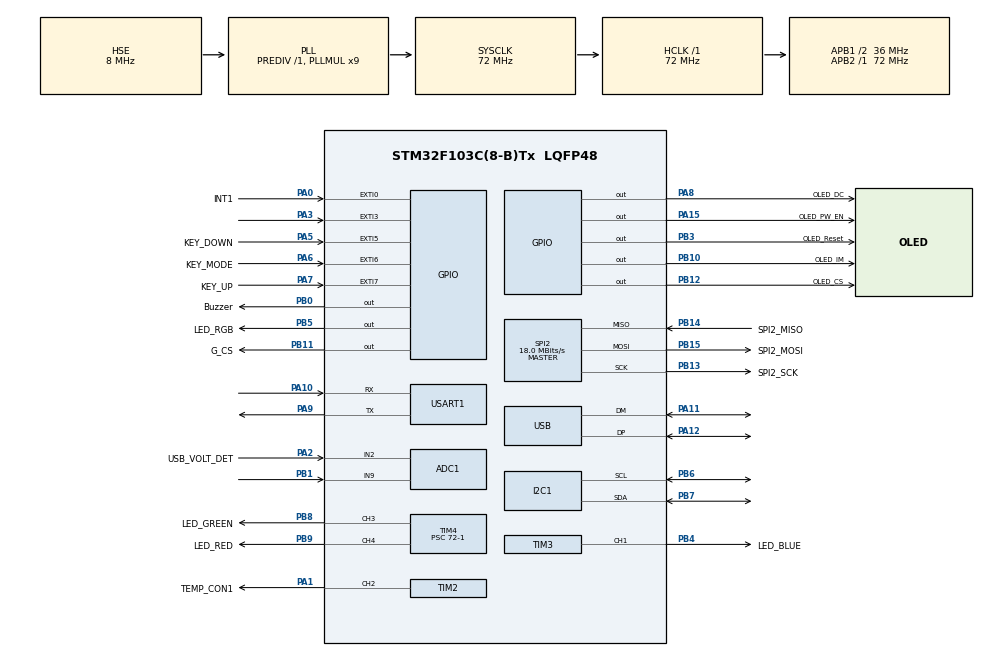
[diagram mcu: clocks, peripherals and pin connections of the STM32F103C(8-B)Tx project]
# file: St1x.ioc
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ADC1.Channel-0\#ChannelRegularConversion=ADC_CHANNEL_9
ADC1.Channel-1\#ChannelRegularConversion=ADC_CHANNEL_2
ADC1.Channel-2\#ChannelRegularConversion=ADC_CHANNEL_TEMPSENSOR
ADC1.ContinuousConvMode=DISABLE
ADC1.ExternalTrigConv=ADC_SOFTWARE_START
ADC1.NbrOfConversion=3
ADC1.NbrOfConversionFlag=1
ADC1.Rank-0\#ChannelRegularConversion=1
ADC1.Rank-1\#ChannelRegularConversion=2
ADC1.Rank-2\#ChannelRegularConversion=3
ADC1.SamplingTime-0\#ChannelRegularConversion=ADC_SAMPLETIME_28CYCLES_5
ADC1.SamplingTime-1\#ChannelRegularConversion=ADC_SAMPLETIME_55CYCLES_5
ADC1.SamplingTime-2\#ChannelRegularConversion=ADC_SAMPLETIME_71CYCLES_5
ADC1.master=1
Dma.ADC1.0.Direction=DMA_PERIPH_TO_MEMORY
Dma.ADC1.0.Instance=DMA1_Channel1
Dma.ADC1.0.MemDataAlignment=DMA_MDATAALIGN_HALFWORD
Dma.ADC1.0.MemInc=DMA_MINC_ENABLE
Dma.ADC1.0.Mode=DMA_CIRCULAR
Dma.ADC1.0.PeriphDataAlignment=DMA_PDATAALIGN_HALFWORD
Dma.ADC1.0.PeriphInc=DMA_PINC_DISABLE
Dma.ADC1.0.Priority=DMA_PRIORITY_HIGH
Dma.I2C1_RX.3.Direction=DMA_PERIPH_TO_MEMORY
Dma.I2C1_RX.3.Instance=DMA1_Channel7
Dma.I2C1_RX.3.MemDataAlignment=DMA_MDATAALIGN_BYTE
Dma.I2C1_RX.3.MemInc=DMA_MINC_ENABLE
Dma.I2C1_RX.3.Mode=DMA_CIRCULAR
Dma.I2C1_RX.3.PeriphDataAlignment=DMA_PDATAALIGN_BYTE
Dma.I2C1_RX.3.PeriphInc=DMA_PINC_DISABLE
Dma.I2C1_RX.3.Priority=DMA_PRIORITY_LOW
Dma.Request0=ADC1
Dma.Request1=SPI2_TX
Dma.Request2=SPI2_RX
Dma.Request3=I2C1_RX
Dma.SPI2_RX.2.Direction=DMA_PERIPH_TO_MEMORY
Dma.SPI2_RX.2.Instance=DMA1_Channel4
Dma.SPI2_RX.2.MemDataAlignment=DMA_MDATAALIGN_BYTE
Dma.SPI2_RX.2.MemInc=DMA_MINC_ENABLE
Dma.SPI2_RX.2.Mode=DMA_NORMAL
Dma.SPI2_RX.2.PeriphDataAlignment=DMA_PDATAALIGN_BYTE
Dma.SPI2_RX.2.PeriphInc=DMA_PINC_DISABLE
Dma.SPI2_RX.2.Priority=DMA_PRIORITY_LOW
Dma.SPI2_TX.1.Direction=DMA_MEMORY_TO_PERIPH
Dma.SPI2_TX.1.Instance=DMA1_Channel5
Dma.SPI2_TX.1.MemDataAlignment=DMA_MDATAALIGN_BYTE
Dma.SPI2_TX.1.MemInc=DMA_MINC_ENABLE
Dma.SPI2_TX.1.Mode=DMA_NORMAL
Dma.SPI2_TX.1.PeriphDataAlignment=DMA_PDATAALIGN_BYTE
Dma.SPI2_TX.1.PeriphInc=DMA_PINC_DISABLE
Dma.SPI2_TX.1.Priority=DMA_PRIORITY_LOW
I2C1.I2C_Mode=I2C_Fast
Mcu.Family=STM32F1
Mcu.Name=STM32F103C(8-B)Tx
Mcu.Package=LQFP48
NVIC.ADC1_2_IRQn=true\:0\:0\:false\:false\:true\:true\:true\:true
NVIC.DMA1_Channel1_IRQn=true\:0\:0\:false\:false\:true\:false\:true\:true
NVIC.DMA1_Channel4_IRQn=true\:0\:0\:false\:false\:true\:false\:true\:true
NVIC.DMA1_Channel5_IRQn=true\:0\:0\:false\:false\:true\:false\:true\:true
NVIC.DMA1_Channel7_IRQn=true\:0\:0\:false\:false\:true\:false\:true\:true
NVIC.EXTI0_IRQn=true\:0\:0\:false\:false\:true\:true\:true\:true
NVIC.EXTI9_5_IRQn=true\:5\:0\:true\:false\:true\:true\:true\:true
NVIC.PriorityGroup=NVIC_PRIORITYGROUP_4
NVIC.TIM2_IRQn=true\:0\:0\:false\:false\:true\:true\:true\:true
NVIC.USB_LP_CAN1_RX0_IRQn=true\:0\:0\:false\:false\:true\:false\:true\:true
PA0-WKUP.GPIO_Label=INT1
PA0-WKUP.GPIO_PuPd=GPIO_PULLUP
PA0-WKUP.Signal=GPXTI0
PA1.GPIO_Label=TEMP_CON1
PA1.GPIO_Speed=GPIO_SPEED_FREQ_HIGH
PA1.Signal=S_TIM2_CH2
PA10.Mode=Asynchronous
PA10.Signal=USART1_RX
PA11.Mode=Device
PA11.Signal=USB_DM
PA12.Mode=Device
PA12.Signal=USB_DP
PA13.Mode=Serial_Wire
PA13.Signal=SYS_JTMS-SWDIO
PA14.Mode=Serial_Wire
PA14.Signal=SYS_JTCK-SWCLK
PA15.GPIO_Label=OLED_PW_EN
PA15.PinState=GPIO_PIN_SET
PA15.Signal=GPIO_Output
PA2.GPIO_Label=USB_VOLT_DET
PA2.Signal=ADCx_IN2
PA3.Signal=GPXTI3
PA5.GPIO_Label=KEY_DOWN
PA5.GPIO_ModeDefaultEXTI=GPIO_MODE_IT_FALLING
PA5.GPIO_PuPd=GPIO_PULLUP
PA5.Signal=GPXTI5
PA6.GPIO_Label=KEY_MODE
PA6.GPIO_ModeDefaultEXTI=GPIO_MODE_IT_FALLING
PA6.GPIO_PuPd=GPIO_PULLUP
PA6.Signal=GPXTI6
PA7.GPIO_Label=KEY_UP
PA7.GPIO_ModeDefaultEXTI=GPIO_MODE_IT_FALLING
PA7.GPIO_PuPd=GPIO_PULLUP
PA7.Signal=GPXTI7
PA8.GPIO_Label=OLED_DC
PA8.GPIO_Speed=GPIO_SPEED_FREQ_HIGH
PA8.Signal=GPIO_Output
PA9.Mode=Asynchronous
PA9.Signal=USART1_TX
PB0.GPIO_Label=Buzzer
PB0.GPIO_Speed=GPIO_SPEED_FREQ_HIGH
PB0.Signal=GPIO_Output
PB1.Signal=ADCx_IN9
PB10.GPIO_Label=OLED_IM
PB10.Signal=GPIO_Output
PB11.GPIO_Label=G_CS
PB11.GPIO_PuPd=GPIO_NOPULL
PB11.GPIO_Speed=GPIO_SPEED_FREQ_HIGH
PB11.PinState=GPIO_PIN_SET
PB11.Signal=GPIO_Output
PB12.GPIO_Label=OLED_CS
PB12.GPIO_Speed=GPIO_SPEED_FREQ_HIGH
PB12.PinState=GPIO_PIN_SET
PB12.Signal=GPIO_Output
PB13.GPIO_Label=SPI2_SCK
PB13.Mode=Full_Duplex_Master
PB13.Signal=SPI2_SCK
PB14.GPIO_Label=SPI2_MISO
PB14.Mode=Full_Duplex_Master
PB14.Signal=SPI2_MISO
PB15.GPIO_Label=SPI2_MOSI
PB15.Mode=Full_Duplex_Master
PB15.Signal=SPI2_MOSI
PB3.GPIO_Label=OLED_Reset
PB3.PinState=GPIO_PIN_SET
PB3.Signal=GPIO_Output
PB4.GPIO_Label=LED_BLUE
PB4.GPIO_ModeDefaultPP=GPIO_MODE_AF_OD
PB4.GPIO_Speed=GPIO_SPEED_FREQ_HIGH
PB4.Signal=S_TIM3_CH1
PB5.GPIO_Label=LED_RGB
PB5.Signal=GPIO_Output
PB6.Mode=I2C
PB6.Signal=I2C1_SCL
PB7.Mode=I2C
PB7.Signal=I2C1_SDA
PB8.GPIO_Label=LED_GREEN
PB8.GPIO_ModeDefaultPP=GPIO_MODE_AF_OD
PB8.GPIO_Speed=GPIO_SPEED_FREQ_HIGH
PB8.Signal=S_TIM4_CH3
PB9.GPIO_Label=LED_RED
PB9.GPIO_ModeDefaultPP=GPIO_MODE_AF_OD
PB9.GPIO_Speed=GPIO_SPEED_FREQ_HIGH
PB9.Signal=S_TIM4_CH4
PD0-OSC_IN.Mode=HSE-External-Oscillator
PD0-OSC_IN.Signal=RCC_OSC_IN
PD1-OSC_OUT.Mode=HSE-External-Oscillator
PD1-OSC_OUT.Signal=RCC_OSC_OUT
ProjectManager.HeapSize=0x200
ProjectManager.StackSize=0x400
ProjectManager.TargetToolchain=STM32CubeIDE
RCC.ADCPresc=RCC_ADCPCLK2_DIV6
RCC.AHBFreq_Value=72000000
RCC.APB1CLKDivider=RCC_HCLK_DIV2
RCC.APB1Freq_Value=36000000
RCC.APB1TimFreq_Value=72000000
RCC.APB2Freq_Value=72000000
RCC.APB2TimFreq_Value=72000000
RCC.HCLKFreq_Value=72000000
RCC.PLLMUL=RCC_PLL_MUL9
RCC.PLLSourceVirtual=RCC_PLLSOURCE_HSE
RCC.SYSCLKFreq_VALUE=72000000
RCC.SYSCLKSource=RCC_SYSCLKSOURCE_PLLCLK
RCC.USBFreq_Value=48000000
RCC.USBPrescaler=RCC_USBCLKSOURCE_PLL_DIV1_5
SH.ADCx_IN2.0=ADC1_IN2,IN2
SH.ADCx_IN9.0=ADC1_IN9,IN9
SH.S_TIM2_CH2.0=TIM2_CH2,PWM Generation2 CH2
SH.S_TIM3_CH1.0=TIM3_CH1,PWM Generation1 CH1
SH.S_TIM4_CH3.0=TIM4_CH3,PWM Generation3 CH3
SH.S_TIM4_CH4.0=TIM4_CH4,PWM Generation4 CH4
SPI2.BaudRatePrescaler=SPI_BAUDRATEPRESCALER_2
SPI2.CLKPolarity=SPI_POLARITY_LOW
SPI2.CalculateBaudRate=18.0 MBits/s
SPI2.Direction=SPI_DIRECTION_2LINES
SPI2.Mode=SPI_MODE_MASTER
SPI2.VirtualType=VM_MASTER
TIM2.Channel-PWM\ Generation2\ CH2=TIM_CHANNEL_2
TIM2.Period=10000
TIM2.Prescaler=143
TIM2.TIM_MasterOutputTrigger=TIM_TRGO_RESET
TIM2.TIM_MasterSlaveMode=TIM_MASTERSLAVEMODE_DISABLE
TIM3.Channel-PWM\ Generation1\ CH1=TIM_CHANNEL_1
TIM3.OCMode_PWM-PWM\ Generation1\ CH1=TIM_OCMODE_PWM2
TIM3.OCPolarity_1=TIM_OCPOLARITY_HIGH
TIM3.Period=1500
TIM3.Prescaler=1
TIM3.Pulse-PWM\ Generation1\ CH1=0
TIM3.TIM_MasterOutputTrigger=TIM_TRGO_RESET
TIM3.TIM_MasterSlaveMode=TIM_MASTERSLAVEMODE_DISABLE
TIM4.Channel-PWM\ Generation3\ CH3=TIM_CHANNEL_3
TIM4.Channel-PWM\ Generation4\ CH4=TIM_CHANNEL_4
TIM4.OCMode_PWM-PWM\ Generation3\ CH3=TIM_OCMODE_PWM2
TIM4.OCMode_PWM-PWM\ Generation4\ CH4=TIM_OCMODE_PWM2
TIM4.Period=1000-1
TIM4.Prescaler=72-1
USART1.VirtualMode=VM_ASYNC
USB_DEVICE.CLASS_NAME_FS=DFU
USB_DEVICE.VirtualMode=Dfu
USB_DEVICE.VirtualModeFS=Dfu_FS
VP_ADC1_TempSens_Input.Mode=IN-TempSens
VP_TIM1_VS_ClockSourceINT.Mode=Internal
VP_TIM2_VS_ClockSourceINT.Mode=Internal
VP_TIM3_VS_ClockSourceINT.Mode=Internal
VP_TIM4_VS_ClockSourceINT.Mode=Internal
VP_USB_DEVICE_VS_USB_DEVICE_DFU_FS.Mode=DFU_FS
board=custom

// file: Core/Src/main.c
/* USER CODE BEGIN Header */
/**
  ******************************************************************************
  * @file           : main.c
  * @brief          : Main program body
  ******************************************************************************
  * @attention
  *
  * Copyright (c) 2023 STMicroelectronics.
  * All rights reserved.
  *
  * This software is licensed under terms that can be found in the LICENSE file
  * in the root directory of this software component.
  * If no LICENSE file comes with this software, it is provided AS-IS.
  *
  ******************************************************************************
  */
/* USER CODE END Header */
#include "main.h"
#include "adc.h"
#include "dma.h"
#include "i2c.h"
#include "spi.h"
#include "tim.h"
#include "usart.h"
#include "usb_device.h"
#include "gpio.h"

/* USER CODE BEGIN Includes */
#include <math.h>
#include "u8g2.h"
#include "u8g2_oled.h"
#include "St1xADC.h"
#include "bmp.h"
#include "lis2dw12.h"
#include "St1xPID.h"
#include "ws2812.h"
#include "St1xMenu.h"
#include "St1xKey.h"
#include "St1xStatic.h"
#include "St1xCalibrationSystem.h"
#include "Buzzer.h"
#include "St1xSystemManager.h"

// 声明外部变量
extern uint8_t heating_status;

// 环境温度感知系统相关变量声明
extern uint32_t system_start_time;
extern uint32_t last_heating_time;

// 校准系统所需的外部函数声明
extern float getCalibrationTemperature(void);
extern uint8_t isUSBVoltageSufficient(void);
extern void StopCalibrationHeating(void);
extern void StartCalibrationHeating(void);
/* USER CODE END Includes */

/* USER CODE BEGIN PD */
// 显示更新间隔(ms)
#define DISPLAY_UPDATE_INTERVAL 100
// 静置检查间隔(ms)
#define STANDBY_CHECK_INTERVAL 1000
// 菜单进入延迟(ms)
#define MENU_ENTER_DELAY 200
// 温度显示变化阈值(°C)
#define TEMP_DISPLAY_THRESHOLD 0.5f
/* USER CODE END PD */

/* USER CODE BEGIN PV */
// 定义u8g2全局变量
u8g2_t u8g2;

// 菜单活动状态变量
uint8_t menu_active = 0;

// OLED更新计时
uint32_t last_oled_update = 0;

// 调试显示标志
uint8_t debug_display_enabled = 0;  // 默认关闭调试显示 0关闭 1开启

// 使用系统管理模块中定义的系统模式
extern SystemMode current_system_mode;

// 系统状态标志
uint8_t timer_started = 0;  // 定时器启动标志
uint32_t last_standby_check = 0;  // 上次静置检查时间
float last_displayed_temp = 0;  // 上次显示的温度值
uint32_t menu_enter_delay = 0;  // 菜单进入延迟计时
/* USER CODE END PV */

void SystemClock_Config(void);
/* USER CODE BEGIN PFP */

// 系统初始化函数（保留硬件相关初始化）
void System_Init(void);
void LED_Init(void);
void Display_Init(void);
void ADC_Init(void);
void Timer_Init(void);

/* USER CODE END PFP */

/* USER CODE BEGIN 0 */

//===========================
// 中断回调函数
//===========================

/**
 * @brief TIM2定时器中断回调函数
 */
void HAL_TIM_PeriodElapsedCallback(TIM_HandleTypeDef *htim) {
    if (htim->Instance == TIM2) {
        heatingControlTimerCallback();  // 调用加热控制逻辑
    }
}

/* USER CODE END 0 */

int main(void)
{

  /* MCU Configuration--------------------------------------------------------*/

  /* Reset of all peripherals, Initializes the Flash interface and the Systick. */
  HAL_Init();

  /* Configure the system clock */
  SystemClock_Config();

  /* Initialize all configured peripherals */
  MX_GPIO_Init();
  MX_DMA_Init();
  MX_ADC1_Init();
  MX_SPI2_Init();
  MX_TIM2_Init();
  MX_TIM3_Init();
  MX_USART1_UART_Init();
  MX_TIM4_Init();
  MX_TIM1_Init();
  MX_I2C1_Init();
  MX_USB_DEVICE_Init();
  /* USER CODE BEGIN 2 */
    // 系统初始化
    System_Init();
  /* USER CODE END 2 */

  /* Infinite loop */
  while (1)
  {

    /* USER CODE BEGIN 3 */
    uint32_t current_time = HAL_GetTick();

    // 系统状态监控（始终运行）
    systemStatusMonitor();

    // 定期检查静置状态
    if ((current_time - last_standby_check) >= STANDBY_CHECK_INTERVAL) {
        St1xStatic_DisplayData(NULL); // 检查静置状态
        last_standby_check = current_time;
    }

    // 静置状态下的屏幕和LED控制
    St1xStatic_TimerCallback();

    // 根据当前系统模式处理不同的逻辑
    SystemManager_ModeHandler(current_time);

    // 更新蜂鸣器状态机
//    buzzerBeep_update();

    // 更新启动音状态机
//    buzzerStartupBeep_update();

    // 各模块有独立的定时刷新机制，无需主循环延时
  }
  /* USER CODE END 3 */
}

void SystemClock_Config(void)
{
  RCC_OscInitTypeDef RCC_OscInitStruct = {0};
  RCC_ClkInitTypeDef RCC_ClkInitStruct = {0};
  RCC_PeriphCLKInitTypeDef PeriphClkInit = {0};

  /** Initializes the RCC Oscillators according to the specified parameters
  * in the RCC_OscInitTypeDef structure.
  */
  RCC_OscInitStruct.OscillatorType = RCC_OSCILLATORTYPE_HSE;
  RCC_OscInitStruct.HSEState = RCC_HSE_ON;
  RCC_OscInitStruct.HSEPredivValue = RCC_HSE_PREDIV_DIV1;
  RCC_OscInitStruct.HSIState = RCC_HSI_ON;
  RCC_OscInitStruct.PLL.PLLState = RCC_PLL_ON;
  RCC_OscInitStruct.PLL.PLLSource = RCC_PLLSOURCE_HSE;
  RCC_OscInitStruct.PLL.PLLMUL = RCC_PLL_MUL9;
  if (HAL_RCC_OscConfig(&RCC_OscInitStruct) != HAL_OK)
  {
    Error_Handler();
  }

  /** Initializes the CPU, AHB and APB buses clocks
  */
  RCC_ClkInitStruct.ClockType = RCC_CLOCKTYPE_HCLK|RCC_CLOCKTYPE_SYSCLK
                              |RCC_CLOCKTYPE_PCLK1|RCC_CLOCKTYPE_PCLK2;
  RCC_ClkInitStruct.SYSCLKSource = RCC_SYSCLKSOURCE_PLLCLK;
  RCC_ClkInitStruct.AHBCLKDivider = RCC_SYSCLK_DIV1;
  RCC_ClkInitStruct.APB1CLKDivider = RCC_HCLK_DIV2;
  RCC_ClkInitStruct.APB2CLKDivider = RCC_HCLK_DIV1;

  if (HAL_RCC_ClockConfig(&RCC_ClkInitStruct, FLASH_LATENCY_2) != HAL_OK)
  {
    Error_Handler();
  }
  PeriphClkInit.PeriphClockSelection = RCC_PERIPHCLK_ADC|RCC_PERIPHCLK_USB;
  PeriphClkInit.AdcClockSelection = RCC_ADCPCLK2_DIV6;
  PeriphClkInit.UsbClockSelection = RCC_USBCLKSOURCE_PLL_DIV1_5;
  if (HAL_RCCEx_PeriphCLKConfig(&PeriphClkInit) != HAL_OK)
  {
    Error_Handler();
  }
}

/* USER CODE BEGIN 4 */

//===========================
// 系统初始化函数
//===========================

/**
 * @brief 系统初始化 - 负责硬件外设的初始化
 */
void System_Init(void) {
    // 记录系统启动时间
    system_start_time = HAL_GetTick();

    LED_Init();
    Display_Init();
    ADC_Init();
    Timer_Init();
//    buzzer_init();  // 初始化蜂鸣器状态机
//    buzzerStartupBeep();            // 播放开机启动音
//    buzzerRadarBeep();             // 播放渐进启动音
    SystemManager_AppModulesInit();  // 应用模块初始化已移动到系统管理模块
}

/**
 * @brief LED初始化
 */
void LED_Init(void) {
    HAL_TIM_PWM_Start(&htim4, TIM_CHANNEL_3);
    HAL_TIM_PWM_Start(&htim4, TIM_CHANNEL_4);
    HAL_TIM_PWM_Start(&htim3, TIM_CHANNEL_1);
    __HAL_TIM_SetCompare(&htim4, TIM_CHANNEL_3, 0);  // 红色LED
    __HAL_TIM_SetCompare(&htim4, TIM_CHANNEL_4, 0);  // 绿色LED
    __HAL_TIM_SetCompare(&htim3, TIM_CHANNEL_1, 0);  // 蓝色LED
}

/**
 * @brief 显示初始化
 */
void Display_Init(void) {
    spi_oled_Init(&u8g2);           // 初始化OLED
    u8g2_DrawXBMP(&u8g2,0,0,128,80,Logo);  // 显示开机LOGO
    u8g2_SendBuffer(&u8g2);
    HAL_Delay(1000);                // 显示开机LOGO 1秒钟
    u8g2_ClearBuffer(&u8g2);
}

/**
 * @brief ADC初始化
 */
void ADC_Init(void) {
    HAL_ADCEx_Calibration_Start(&hadc1);  // ADC自动校准
}

/**
 * @brief 定时器初始化
 */
void Timer_Init(void) {
    // 暂时不启动TIM2中断，避免过早启动PID控制
    // 首次显示更新完成后，在System_NormalModeHandler中再启动定时器
}

/* USER CODE END 4 */

void Error_Handler(void)
{
    __disable_irq();
    while (1) {
    }
}
